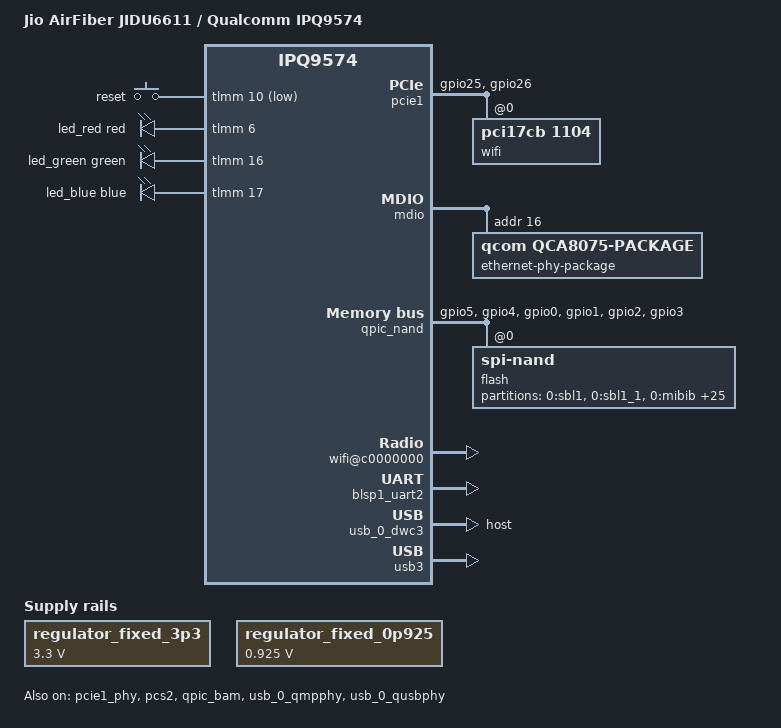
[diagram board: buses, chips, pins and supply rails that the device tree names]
// SPDX-License-Identifier: (GPL-2.0+ OR BSD-3-Clause)
/*
 * Jio AirFiber (JIDU6611) - IPQ9574 AP-AL02-C1
 *
 * Merged from ipq9574-jiorouter-common.dtsi and ipq9574-jio-airfiber.dts
 */

/dts-v1/;

#include <dt-bindings/gpio/gpio.h>
#include <dt-bindings/input/input.h>
#include <dt-bindings/leds/common.h>
#include "qcom/ipq9574.dtsi"

#include <dt-bindings/clock/qcom,qca8k-nsscc.h>
#include <dt-bindings/net/qcom,qca808x.h>
#include <dt-bindings/reset/qcom,qca8k-nsscc.h>

/ {
	model = "Jio AirFiber JIDU6611 / Qualcomm IPQ9574";
	compatible = "qcom,ipq9574-ap-al02-c1", "qcom,ipq9574-al02", "qcom,ipq9574";

	aliases {
		serial0 = &blsp1_uart2;
	};

	chosen {
		stdout-path = "serial0:115200n8";
	};

	ipq9574_s4: s4 {
		regulator-min-microvolt = <1>;
		regulator-max-microvolt = <9>;
		regulator-always-on;
	};

	regulator_fixed_3p3: s3300 {
		compatible = "regulator-fixed";
		regulator-min-microvolt = <3300000>;
		regulator-max-microvolt = <3300000>;
		regulator-boot-on;
		regulator-always-on;
		regulator-name = "fixed_3p3";
	};

	regulator_fixed_0p925: s0925 {
		compatible = "regulator-fixed";
		regulator-min-microvolt = <925000>;
		regulator-max-microvolt = <925000>;
		regulator-boot-on;
		regulator-always-on;
		regulator-name = "fixed_0p925";
	};

	gpio-keys {
		compatible = "gpio-keys";
		pinctrl-0 = <&gpio_keys_default>;
		pinctrl-names = "default";

		reset {
			label = "reset";
			linux,code = <KEY_RESTART>;
			gpios = <&tlmm 10 GPIO_ACTIVE_LOW>;
		};
	};

	leds {
		compatible = "gpio-leds";
		pinctrl-0 = <&gpio_leds_default>;
		pinctrl-names = "default";

		led_red: led-0 {
			color = <LED_COLOR_ID_RED>;
			function = LED_FUNCTION_STATUS;
			gpios = <&tlmm 6 GPIO_ACTIVE_HIGH>;
			default-state = "on";
		};

		led_green: led-1 {
			color = <LED_COLOR_ID_GREEN>;
			function = LED_FUNCTION_STATUS;
			gpios = <&tlmm 16 GPIO_ACTIVE_HIGH>;
		};

		led_blue: led-2 {
			color = <LED_COLOR_ID_BLUE>;
			function = LED_FUNCTION_STATUS;
			gpios = <&tlmm 17 GPIO_ACTIVE_HIGH>;
		};
	};
};


/* CPU */
// &cpu0 { cpu-supply = <&apc_vreg>; };
// &cpu1 { cpu-supply = <&apc_vreg>; };
// &cpu2 { cpu-supply = <&apc_vreg>; };
// &cpu3 { cpu-supply = <&apc_vreg>; };
// &apc_apm { status = "okay"; };
// &apc_cpr { vdd-supply = <&ipq9574_s1>; status = "okay"; };

/* ---- PCIe Interfaces ---- */

&pcie0 { status = "disabled"; };
&pcie0_phy { status = "disabled"; }; 
&pcie1_phy {
	status = "okay";
};

&pcie1 {
	pinctrl-0 = <&pcie_qcn9000_pins>;
	pinctrl-names = "default";
	perst-gpios = <&tlmm 26 GPIO_ACTIVE_LOW>;
	status = "okay";

	pcie1_rp {
		reg = <0 0 0 0 0>;
		wifi@0 {
			compatible = "pci17cb,1104";
			reg = <0 0 0 0 0>;
			qcom,board_id = <0xb7>;
			calibration = <&precal_wifi1>;
		};
	};
};

&pcie2_phy { status = "disabled"; };

&pcie2 {
	pinctrl-0 = <&pcie2_default>;
	pinctrl-names = "default";
	perst-gpios = <&tlmm 29 GPIO_ACTIVE_LOW>;
	wake-gpios = <&tlmm 30 GPIO_ACTIVE_LOW>;
	status = "disabled";
};

&pcie3_phy { status = "disabled"; };

&pcie3 {
	pinctrl-0 = <&pcie3_default>;
	pinctrl-names = "default";
	perst-gpios = <&tlmm 32 GPIO_ACTIVE_LOW>;
	wake-gpios = <&tlmm 33 GPIO_ACTIVE_LOW>;
	qcom,perst-delay-us = <20000>;
	qcom,boot-delay-ms = <100>;
	status = "disabled";
};

/* ---- MDIO and Ethernet PHYs ---- */
&mdio {
	clock-frequency = <6250000>;
	pinctrl-0 = <&mdio_pins>;
	pinctrl-names = "default";
	status = "okay";

	ethernet-phy-package@0 {
		compatible = "qcom,qca8075-package";
		#address-cells = <1>;
		#size-cells = <0>;
		reg = <0x10>;
		qcom,package-mode = "qsgmii";

		phy0: ethernet-phy@10 { reg = <0x10>; };
		phy1: ethernet-phy@11 { reg = <0x11>; };
		phy2: ethernet-phy@12 { reg = <0x12>; };
		phy3: ethernet-phy@13 { reg = <0x13>; };
		phy5: ethernet-phy@0  { reg = <0x14>; };
	};
};

/* ---- Pinmux ---- */
&tlmm {
	spi_0_pins: spi-0-state {
		pins = "gpio11", "gpio12", "gpio13", "gpio14";
		function = "blsp0_spi";
		drive-strength = <8>;
		bias-disable;
	};

	gpio_keys_default: gpio-keys-default-state {
		pins = "gpio10";
		function = "gpio";
		drive-strength = <8>;
		bias-pull-up;
	};

	gpio_leds_default: gpio-leds-default-state {
		pins = "gpio64";
		function = "gpio";
		drive-strength = <8>;
		bias-pull-up;
	};

	qpic_snand_default_state: qpic-snand-default-state {
		clock-pins {
			pins = "gpio5";
			function = "qspi_clk";
			drive-strength = <8>;
			bias-disable;
		};
		cs-pins {
			pins = "gpio4";
			function = "qspi_cs";
			drive-strength = <8>;
			bias-disable;
		};
		data-pins {
			pins = "gpio0", "gpio1", "gpio2", "gpio3";
			function = "qspi_data";
			drive-strength = <8>;
			bias-disable;
		};
	};

	pcie1_default: pcie1-default-state {
		clkreq-n-pins {
			pins = "gpio25";
			function = "pcie1_clk";
			drive-strength = <6>;
			bias-pull-up;
		};
		perst-n-pins {
			pins = "gpio26";
			function = "gpio";
			drive-strength = <8>;
			bias-pull-down;
			output-low;
		};
		wake-n-pins {
			pins = "gpio27";
			function = "pcie1_wake";
			drive-strength = <6>;
			bias-pull-up;
		};
	};

	pcie_qcn9000_pins: pcie-qcn9000-state {
		clkreq-n-pins {
			pins = "gpio25";
			function = "pcie1_clk";
			drive-strength = <6>;
			bias-pull-up;
		};
		perst-n-pins {
			pins = "gpio26";
			function = "gpio";
			drive-strength = <8>;
			bias-pull-up;
			output-low;      /* Hold card in reset until driver releases */
		};
	};


	pcie2_default: pcie2-default-state {
		clkreq-n-pins {
			pins = "gpio28";
			function = "pcie2_clk";
			drive-strength = <6>;
			bias-pull-up;
		};
		perst-n-pins {
			pins = "gpio29";
			function = "gpio";
			drive-strength = <8>;
			bias-pull-down;
			output-low;
		};
		wake-n-pins {
			pins = "gpio30";
			function = "pcie2_wake";
			drive-strength = <6>;
			bias-pull-up;
		};
	};

	pcie3_default: pcie3-default-state {
		clkreq-n-pins {
			pins = "gpio31";
			function = "pcie3_clk";
			drive-strength = <6>;
			bias-pull-up;
		};
		perst-n-pins {
			pins = "gpio32";
			function = "gpio";
			drive-strength = <8>;
			bias-pull-up;
		};
		wake-n-pins {
			pins = "gpio33";
			function = "pcie3_wake";
			drive-strength = <6>;
			bias-pull-up;
		};
	};
};

/* ---- Ethernet MAC (PPE) configuration ---- */
&qcom_ppe {
	ethernet-ports {
		#address-cells = <1>;
		#size-cells = <0>;

		port@1 {
			reg = <1>;
			phy-mode = "qsgmii";
			managed = "in-band-status";
			label = "wan";
			nvmem-cells = <&macaddr_art_0>;
			nvmem-cell-names = "mac-address";
			phy-handle = <&phy0>;
			pcs-handle = <&pcs0_ch0>;
			clocks = <&nsscc NSS_CC_PORT1_MAC_CLK>,
				 <&nsscc NSS_CC_PORT1_RX_CLK>,
				 <&nsscc NSS_CC_PORT1_TX_CLK>;
			clock-names = "mac", "rx", "tx";
			resets = <&nsscc PORT1_MAC_ARES>,
				 <&nsscc PORT1_RX_ARES>,
				 <&nsscc PORT1_TX_ARES>;
			reset-names = "mac", "rx", "tx";
		};

		port@2 {
			reg = <2>;
			phy-mode = "qsgmii";
			managed = "in-band-status";
			label = "lan1";

			nvmem-cells = <&macaddr_art_0>;
			nvmem-cell-names = "mac-address";
			mac-address-increment= <1>;

			phy-handle = <&phy1>;
			pcs-handle = <&pcs0_ch1>;
			clocks = <&nsscc NSS_CC_PORT2_MAC_CLK>,
				 <&nsscc NSS_CC_PORT2_RX_CLK>,
				 <&nsscc NSS_CC_PORT2_TX_CLK>;
			clock-names = "mac", "rx", "tx";
			resets = <&nsscc PORT2_MAC_ARES>,
				 <&nsscc PORT2_RX_ARES>,
				 <&nsscc PORT2_TX_ARES>;
			reset-names = "mac", "rx", "tx";
		};

		port@3 {
			reg = <3>;
			phy-mode = "qsgmii";
			managed = "in-band-status";
			label = "lan2";
			nvmem-cells = <&macaddr_art_0>;
			nvmem-cell-names = "mac-address";
			mac-address-increment= <2>;
			phy-handle = <&phy2>;
			pcs-handle = <&pcs0_ch2>;
			clocks = <&nsscc NSS_CC_PORT3_MAC_CLK>,
				 <&nsscc NSS_CC_PORT3_RX_CLK>,
				 <&nsscc NSS_CC_PORT3_TX_CLK>;
			clock-names = "mac", "rx", "tx";
			resets = <&nsscc PORT3_MAC_ARES>,
				 <&nsscc PORT3_RX_ARES>,
				 <&nsscc PORT3_TX_ARES>;
			reset-names = "mac", "rx", "tx";
		};

		port@4 {
			reg = <4>;
			phy-mode = "qsgmii";
			managed = "in-band-status";
			label = "lan3";
			nvmem-cells = <&macaddr_art_0>;
			nvmem-cell-names = "mac-address";
			mac-address-increment= <3>;
			phy-handle = <&phy3>;
			pcs-handle = <&pcs0_ch3>;
			clocks = <&nsscc NSS_CC_PORT4_MAC_CLK>,
				 <&nsscc NSS_CC_PORT4_RX_CLK>,
				 <&nsscc NSS_CC_PORT4_TX_CLK>;
			clock-names = "mac", "rx", "tx";
			resets = <&nsscc PORT4_MAC_ARES>,
				 <&nsscc PORT4_RX_ARES>,
				 <&nsscc PORT4_TX_ARES>;
			reset-names = "mac", "rx", "tx";
		};

		port@5 {
			status = "disabled";
		};

		port@6 {
			reg = <6>;
			status = "okay";
			phy-mode = "qsgmii";
			managed = "in-band-status";
			label = "lan4";
			nvmem-cells = <&macaddr_art_0>;
			nvmem-cell-names = "mac-address";
			mac-address-increment= <4>;
			phy-handle = <&phy5>;
			pcs-handle = <&pcs2_ch0>;
			clocks = <&nsscc NSS_CC_PORT6_MAC_CLK>,
				 <&nsscc NSS_CC_PORT6_RX_CLK>,
				 <&nsscc NSS_CC_PORT6_TX_CLK>;
			clock-names = "mac", "rx", "tx";
			resets = <&nsscc PORT6_MAC_ARES>,
				 <&nsscc PORT6_RX_ARES>,
				 <&nsscc PORT6_TX_ARES>;
			reset-names = "mac", "rx", "tx";
		};
	};
};

/* Disable unused UNIPHY/PCS */
&pcs1 {
	status = "disabled";
};

&pcs2 {
	status = "okay";
	qcom,uniphy-mode = "qsgmii";
};

/* ---- Serial NAND Flash ---- */
&qpic_bam {
	status = "okay";
};

&qpic_nand {
	pinctrl-0 = <&qpic_snand_default_state>;
	pinctrl-names = "default";
	status = "okay";

	flash@0 {
		compatible = "spi-nand";
		reg = <0>;
		#address-cells = <1>;
		#size-cells = <1>;
		nand-ecc-engine = <&qpic_nand>;

		partitions {
			compatible = "fixed-partitions";
			#address-cells = <1>;
			#size-cells = <1>;

			partition@00000000 {
				label = "0:sbl1";
				reg = <0x00000000 0x00180000>;
				read-only;
			};
			partition@00180000 {
				label = "0:sbl1_1";
				reg = <0x00180000 0x00180000>;
				read-only;
			};
			partition@00300000 {
				label = "0:mibib";
				reg = <0x00300000 0x00100000>;
				read-only;
			};
			partition@00400000 {
				label = "0:bootconfig";
				reg = <0x00400000 0x00080000>;
				read-only;
			};
			partition@00480000 {
				label = "0:bootconfig1";
				reg = <0x00480000 0x00080000>;
				read-only;
			};
			partition@00500000 {
				label = "0:qsee";
				reg = <0x00500000 0x00380000>;
				read-only;
			};
			partition@00880000 {
				label = "0:qsee_1";
				reg = <0x00880000 0x00380000>;
				read-only;
			};
			partition@00c00000 {
				label = "0:devcfg_1";
				reg = <0x00c00000 0x00080000>;
				read-only;
			};
			partition@00c80000 {
				label = "0:devcfg";
				reg = <0x00c80000 0x00080000>;
				read-only;
			};
			partition@00d00000 {
				label = "0:apdp_1";
				reg = <0x00d00000 0x00080000>;
				read-only;
			};
			partition@00d80000 {
				label = "0:apdp";
				reg = <0x00d80000 0x00080000>;
				read-only;
			};
			partition@00e00000 {
				label = "0:tme";
				reg = <0x00e00000 0x00080000>;
				read-only;
			};
			partition@00e80000 {
				label = "0:tme_1";
				reg = <0x00e80000 0x00080000>;
				read-only;
			};
			partition@00f00000 {
				label = "0:rpm_1";
				reg = <0x00f00000 0x00080000>;
				read-only;
			};
			partition@00f80000 {
				label = "0:rpm";
				reg = <0x00f80000 0x00080000>;
				read-only;
			};
			partition@01000000 {
				label = "0:cdt_1";
				reg = <0x01000000 0x00080000>;
				read-only;
			};
			partition@01080000 {
				label = "0:cdt";
				reg = <0x01080000 0x00080000>;
				read-only;
			};
			partition@01100000 {
				label = "0:appsblenv";
				reg = <0x01100000 0x00080000>;
			};
			partition@01180000 {
				label = "0:appsbl_1";
				reg = <0x01180000 0x00180000>;
				read-only;
			};
			partition@01300000 {
				label = "0:appsbl";
				reg = <0x01300000 0x00180000>;
				read-only;
			};
			partition@01480000 {
				compatible = "nvmem-cells";
				label = "0:art";
				reg = <0x01480000 0x00100000>;
				read-only;

				macaddr_art_0: macaddr@0 {
					reg = <0x0 0x6>;
				};
				precal_wifi0: precal@0 {   /* 2.4 GHz integrated */
					reg = <0x0 0x20000>;
				};
				precal_wifi1: precal@20000 { /* 5 GHz QCN9000 */
					reg = <0x20000 0x20000>;
				};
			};
			partition@01580000 {
				label = "0:ethphyfw";
				reg = <0x01580000 0x00100000>;
				read-only;
			};
			partition@01680000 {
				label = "0:training";
				reg = <0x01680000 0x00080000>;
				read-only;
			};
			partition@01700000 {
				label = "firmware";
				reg = <0x01700000 0x0a000000>;
				compatible = "denx,fit";
			};
			partition@0b700000 {
				label = "customfs";
				reg = <0x0b700000 0x04100000>;
				read-only;
			};
			partition@0f800000 {
				label = "jio-reserved";
				reg = <0x0f800000 0x00200000>;
				read-only;
			};
			partition@0fa00000 {
				label = "mfg";
				reg = <0x0fa00000 0x00200000>;
				read-only;
			};
			partition@0fc00000 {
				label = "0:bdf";
				reg = <0x0fc00000 0x00200000>;
				read-only;
			};
		};
	};
};

/* WiFi */
/* Integrated IPQ9574 radio */
// &wifi0 {
//     qcom,board_id = <0x30>;   /* from kernel cmdline: bdf_integrated=0x30 */
//     calibration = <&precal_wifi0>;
//     status = "ok";
// };

&soc {
	wifi@c0000000 {
		compatible = "qcom,cnss-qca9574", "qcom,ipq9574-wifi";
		reg = <0xc0000000 0x1000000>;
		qcom,board_id = <0x30>;          /* bdf_integrated=0x30 */
		qcom,tgt-mem-mode = <0x02>;
		calibration = <&precal_wifi0>;   /* ART offset 0x0, size 0x20000 */
		status = "okay";
		/* The driver expects a remote processor handle; this is usually
		   provided by the "qcom,rproc" property in the stock DTS. If your
		   kernel requires it, you may need to add the appropriate phandle
		   to the WCSS remoteproc. For now, try without. */
	};
};

/* ---- Disable non-existent SPI NOR ---- */
&blsp1_spi0 {
	status = "disabled";
};

&blsp1_uart2 {
	pinctrl-0 = <&uart2_pins>;
	pinctrl-names = "default";
	status = "okay";
};

&rpm_requests {
	regulators {
		compatible = "qcom,rpm-mp5496-regulators";

		ipq9574_s1: s1 {
			regulator-min-microvolt = <725000>;
			regulator-max-microvolt = <1075000>;
		};

		mp5496_l2: l2 {
			regulator-min-microvolt = <1800000>;
			regulator-max-microvolt = <1800000>;
			regulator-always-on;
			regulator-boot-on;
		};

		mp5496_l5: l5 {
			regulator-min-microvolt = <1800000>;
			regulator-max-microvolt = <1800000>;
			regulator-always-on;
			regulator-boot-on;
		};
	};
};

&sleep_clk {
	clock-frequency = <32000>;
};

/* USB: */
&usb_0_dwc3 { dr_mode = "host"; };
&usb_0_qmpphy {
    vdda-pll-supply = <&mp5496_l5>;
    vdda-phy-supply = <&regulator_fixed_0p925>;
    status = "okay";
};
&usb_0_qusbphy {
    vdd-supply = <&regulator_fixed_0p925>;
    vdda-pll-supply = <&mp5496_l5>;
    vdda-phy-dpdm-supply = <&regulator_fixed_3p3>;
    status = "okay";
};
&usb3 { status = "okay"; };

/* WiFi reference clock configuration */
&ref_48mhz_clk {
	clock-div = <1>;
	clock-mult = <1>;
};

&xo_board_clk {
	clock-div = <2>;
	clock-mult = <1>;
};

&xo_clk {
	clock-frequency = <48000000>;
};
